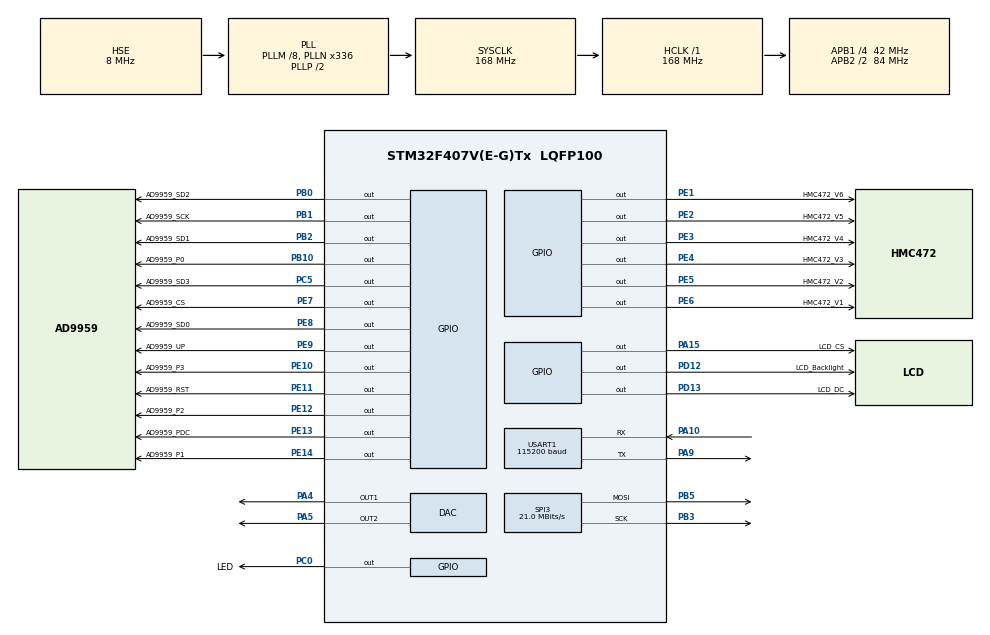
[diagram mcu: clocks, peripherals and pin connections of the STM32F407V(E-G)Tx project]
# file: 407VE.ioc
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DAC.DAC_OutputBuffer=DAC_OUTPUTBUFFER_DISABLE
DAC.DAC_OutputBuffer2=DAC_OUTPUTBUFFER_DISABLE
DAC.DAC_Trigger=DAC_TRIGGER_NONE
DAC.DAC_Trigger2=DAC_TRIGGER_NONE
Mcu.Family=STM32F4
Mcu.Name=STM32F407V(E-G)Tx
Mcu.Package=LQFP100
NVIC.PriorityGroup=NVIC_PRIORITYGROUP_4
NVIC.USART1_IRQn=true\:0\:0\:false\:false\:true\:true\:true\:true
PA10.Mode=Asynchronous
PA10.Signal=USART1_RX
PA13.Mode=Serial_Wire
PA13.Signal=SYS_JTMS-SWDIO
PA14.Mode=Serial_Wire
PA14.Signal=SYS_JTCK-SWCLK
PA15.GPIO_Label=LCD_CS
PA15.PinState=GPIO_PIN_SET
PA15.Signal=GPIO_Output
PA4.Signal=COMP_DAC1_group
PA5.Signal=COMP_DAC2_group
PA9.Mode=Asynchronous
PA9.Signal=USART1_TX
PB0.GPIO_Label=AD9959_SD2
PB0.GPIO_Speed=GPIO_SPEED_FREQ_HIGH
PB0.Signal=GPIO_Output
PB1.GPIO_Label=AD9959_SCK
PB1.GPIO_Speed=GPIO_SPEED_FREQ_HIGH
PB1.Signal=GPIO_Output
PB10.GPIO_Label=AD9959_P0
PB10.GPIO_Speed=GPIO_SPEED_FREQ_HIGH
PB10.Signal=GPIO_Output
PB2.GPIO_Label=AD9959_SD1
PB2.GPIO_Speed=GPIO_SPEED_FREQ_HIGH
PB2.Signal=GPIO_Output
PB3.Mode=TX_Only_Simplex_Unidirect_Master
PB3.Signal=SPI3_SCK
PB5.Mode=TX_Only_Simplex_Unidirect_Master
PB5.Signal=SPI3_MOSI
PC0.GPIO_Label=LED
PC0.GPIO_ModeDefaultOutputPP=GPIO_MODE_OUTPUT_OD
PC0.GPIO_PuPd=GPIO_NOPULL
PC0.Signal=GPIO_Output
PC14-OSC32_IN.Mode=LSE-External-Oscillator
PC14-OSC32_IN.Signal=RCC_OSC32_IN
PC15-OSC32_OUT.Mode=LSE-External-Oscillator
PC15-OSC32_OUT.Signal=RCC_OSC32_OUT
PC5.GPIO_Label=AD9959_SD3
PC5.GPIO_Speed=GPIO_SPEED_FREQ_HIGH
PC5.Signal=GPIO_Output
PD12.GPIO_Label=LCD_Backlight
PD12.Signal=GPIO_Output
PD13.GPIO_Label=LCD_DC
PD13.PinState=GPIO_PIN_SET
PD13.Signal=GPIO_Output
PE1.GPIO_Label=HMC472_V6
PE1.Signal=GPIO_Output
PE10.GPIO_Label=AD9959_P3
PE10.GPIO_Speed=GPIO_SPEED_FREQ_HIGH
PE10.Signal=GPIO_Output
PE11.GPIO_Label=AD9959_RST
PE11.GPIO_Speed=GPIO_SPEED_FREQ_HIGH
PE11.Signal=GPIO_Output
PE12.GPIO_Label=AD9959_P2
PE12.GPIO_Speed=GPIO_SPEED_FREQ_HIGH
PE12.Signal=GPIO_Output
PE13.GPIO_Label=AD9959_PDC
PE13.GPIO_Speed=GPIO_SPEED_FREQ_HIGH
PE13.Signal=GPIO_Output
PE14.GPIO_Label=AD9959_P1
PE14.GPIO_Speed=GPIO_SPEED_FREQ_HIGH
PE14.Signal=GPIO_Output
PE2.GPIO_Label=HMC472_V5
PE2.Signal=GPIO_Output
PE3.GPIO_Label=HMC472_V4
PE3.Signal=GPIO_Output
PE4.GPIO_Label=HMC472_V3
PE4.Signal=GPIO_Output
PE5.GPIO_Label=HMC472_V2
PE5.Signal=GPIO_Output
PE6.GPIO_Label=HMC472_V1
PE6.Signal=GPIO_Output
PE7.GPIO_Label=AD9959_CS
PE7.GPIO_Speed=GPIO_SPEED_FREQ_HIGH
PE7.PinState=GPIO_PIN_SET
PE7.Signal=GPIO_Output
PE8.GPIO_Label=AD9959_SD0
PE8.GPIO_Speed=GPIO_SPEED_FREQ_HIGH
PE8.Signal=GPIO_Output
PE9.GPIO_Label=AD9959_UP
PE9.GPIO_Speed=GPIO_SPEED_FREQ_HIGH
PE9.Signal=GPIO_Output
PH0-OSC_IN.Mode=HSE-External-Oscillator
PH0-OSC_IN.Signal=RCC_OSC_IN
PH1-OSC_OUT.Mode=HSE-External-Oscillator
PH1-OSC_OUT.Signal=RCC_OSC_OUT
ProjectManager.HeapSize=0x200
ProjectManager.StackSize=0x400
ProjectManager.TargetToolchain=MDK-ARM V5.32
RCC.48MHZClocksFreq_Value=48000000
RCC.AHBFreq_Value=168000000
RCC.APB1CLKDivider=RCC_HCLK_DIV4
RCC.APB1Freq_Value=42000000
RCC.APB1TimFreq_Value=84000000
RCC.APB2CLKDivider=RCC_HCLK_DIV2
RCC.APB2Freq_Value=84000000
RCC.APB2TimFreq_Value=168000000
RCC.CortexFreq_Value=168000000
RCC.HCLKFreq_Value=168000000
RCC.HSE_VALUE=8000000
RCC.HSI_VALUE=16000000
RCC.PLLM=8
RCC.PLLN=336
RCC.PLLQ=7
RCC.PLLSourceVirtual=RCC_PLLSOURCE_HSE
RCC.RCC_RTC_Clock_Source=RCC_RTCCLKSOURCE_LSE
RCC.RCC_RTC_Clock_SourceVirtual=RCC_RTCCLKSOURCE_LSE
RCC.SYSCLKFreq_VALUE=168000000
RCC.SYSCLKSource=RCC_SYSCLKSOURCE_PLLCLK
RCC.VCOOutputFreq_Value=336000000
SH.COMP_DAC1_group.0=DAC_OUT1,DAC_OUT1
SH.COMP_DAC2_group.0=DAC_OUT2,DAC_OUT2
SPI3.CalculateBaudRate=21.0 MBits/s
SPI3.Direction=SPI_DIRECTION_2LINES
SPI3.Mode=SPI_MODE_MASTER
SPI3.VirtualType=VM_MASTER
TIM6.Prescaler=168/2-1
USART1.BaudRate=115200
USART1.VirtualMode=VM_ASYNC
VP_RTC_VS_RTC_Activate.Mode=RTC_Enabled
VP_TIM6_VS_ClockSourceINT.Mode=Enable_Timer
board=custom

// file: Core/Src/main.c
/* USER CODE BEGIN Header */
/**
  ******************************************************************************
  * @file           : main.c
  * @brief          : Main program body
  ******************************************************************************
  * @attention
  *
  * Copyright (c) 2025 STMicroelectronics.
  * All rights reserved.
  *
  * This software is licensed under terms that can be found in the LICENSE file
  * in the root directory of this software component.
  * If no LICENSE file comes with this software, it is provided AS-IS.
  *
  ******************************************************************************
  */
/* USER CODE END Header */
#include "main.h"
#include "dac.h"
#include "rtc.h"
#include "spi.h"
#include "tim.h"
#include "usart.h"
#include "gpio.h"

/* USER CODE BEGIN Includes */

#include "AD9959.H"
#include "AM_9959.h"
#include "delay.h"
#include "HMC472.h"

/* USER CODE END Includes */

/* USER CODE BEGIN PV */
uint8_t freq=30; //MHz freq of carrier
uint8_t amp=1;//100mV effective value of carrier
uint8_t md=0;//% modulation depth of a&b signal
uint8_t tdelay=5;//10ns delay of b signal
uint8_t atten=0;//db attenuation of b signal
uint8_t sphase=0;//degree start phase of b signal

/* USER CODE END PV */

void SystemClock_Config(void);

int main(void)
{

  /* MCU Configuration--------------------------------------------------------*/

  /* Reset of all peripherals, Initializes the Flash interface and the Systick. */
  HAL_Init();

  /* Configure the system clock */
  SystemClock_Config();

  /* Initialize all configured peripherals */
  MX_GPIO_Init();
  MX_RTC_Init();
  MX_SPI3_Init();
  MX_USART1_UART_Init();
  MX_TIM6_Init();
  MX_DAC_Init();
  /* USER CODE BEGIN 2 */
  AM_Init();
  AM_Instance* AM_PTRS[2]={&AM1, &AM2};
  delay_init();

	SPI_LCD_Init();
	syslog("LCD Init Success");
	initRingBuffer();
	HAL_UART_Receive_IT(&TJC_UART, RxBuffer, 1);
	char str[100];
	uint32_t nowtime = HAL_GetTick();
	syslog("Hmi Init Success");
	Init_AD9959();
	HAL_Delay(100);
  AD9959_IO_Update();
	syslog("AD9959 Init Success");

	if(HMC472_Instance_Init(&hHMC,HMC472_POTRSDEF,HMC472_PINSDEF)==HAL_OK)
	{
		syslog("HMC472 Init Success");
	}

					AM_SetMDepth(&AM1,0);
					AM_SetMDepth(&AM2,0);

	HMC472_SetAtten(&hHMC,0);

	syslog("Init Success");
  /* USER CODE END 2 */

  /* Infinite loop */
  /* USER CODE BEGIN WHILE */

	AM_SetModulationFreq(&AM1,2000000);
  while (1)
  {

		while (getRingBufferLength() >= FRAME_LENGTH)
		{

			if (getRingBufferLength() >= FRAME_LENGTH &&
			read1ByteFromRingBuffer(0) == 0x55 &&
			read1ByteFromRingBuffer(4) == 0xFF &&
			read1ByteFromRingBuffer(5) == 0xFF &&
			read1ByteFromRingBuffer(6) == 0xFF)//检查帧头及帧尾
			{
				uint8_t operation_flag=read1ByteFromRingBuffer(1);
				if (operation_flag == 0x00)
				{
					freq=read1ByteFromRingBuffer(2);
					sprintf(str,"Cfreq changed to %d MHz",freq);syslog(str);

					uint32_t cfreq=freq*1000000;
					AM_SetCarrierFreq(&AM1, cfreq);
					AM_SetCarrierFreq(&AM2, cfreq);

//					AM_SetCarrierAmp(&AM1,AM1.CW_amp+200);
//					AM_SetCarrierAmp(&AM2,AM2.CW_amp+200);
				}
				else if (operation_flag == 0x01)
				{
					amp=read1ByteFromRingBuffer(2);
					sprintf(str,"EffValue changed to %d00mV",amp);syslog(str);
					AM_SetCarrierAmp(&AM1,((float)amp*100));
					AM_SetCarrierAmp(&AM2,((float)amp*100));

//					AM_SetCarrierAmp(&AM1,AM1.CW_amp-200);
//					AM_SetCarrierAmp(&AM2,AM2.CW_amp-200);
				}
				else if (operation_flag == 0x02)
				{
					md=read1ByteFromRingBuffer(2);
					sprintf(str,"ModuDepth changed to %d %%",md);syslog(str);

					float MD=((float)md)/100;
					AM_SetMDepth(&AM1,MD);
					AM_SetMDepth(&AM2,MD);

//					AM_SetCarrierAmp(&AM1,AM1.CW_amp+20);
//					AM_SetCarrierAmp(&AM2,AM2.CW_amp+20);
				}
				else if (operation_flag == 0x03)
				{
					tdelay=read1ByteFromRingBuffer(2);
					sprintf(str,"Bsig delay changed to %d0ns",tdelay);syslog(str);

					uint16_t TD=tdelay*10;
					AM_SetTDelay(&AM1,&AM2,TD);

//					AM_SetCarrierAmp(&AM1,AM1.CW_amp-20);
//					AM_SetCarrierAmp(&AM2,AM2.CW_amp-20);
				}
				else if (operation_flag == 0x04)
				{
					atten=read1ByteFromRingBuffer(2);
					sprintf(str,"Bsig atten changed to %ddb",atten);syslog(str);
					HMC472_SetAtten(&hHMC,atten);

//					AM_SetCarrierAmp(&AM1,AM1.CW_amp+1);
//					AM_SetCarrierAmp(&AM2,AM2.CW_amp+1);
				}
				else if (operation_flag == 0x05)
				{
					sphase=read1ByteFromRingBuffer(2);
					sprintf(str,"Bsig sphase changed to %d0°",sphase);syslog(str);
//					AM_SetCMPhase(&AM1,sphase*10);
					AM_SetCMPhase(&AM2,sphase*10);

//					AM_SetCarrierAmp(&AM1,AM1.CW_amp-1);
//					AM_SetCarrierAmp(&AM2,AM2.CW_amp-1);
				}
				deleteRingBuffer(7);
			} else
			{
				deleteRingBuffer(1);
				break;
			}
		}
	LED;
	HMC472_ApplyAtten(&hHMC);
	AM_ApplyChanges(AM_PTRS,2);
	HAL_Delay(5);
	}
    /* USER CODE END WHILE */

}

void SystemClock_Config(void)
{
  RCC_OscInitTypeDef RCC_OscInitStruct = {0};
  RCC_ClkInitTypeDef RCC_ClkInitStruct = {0};

  /** Configure the main internal regulator output voltage
  */
  __HAL_RCC_PWR_CLK_ENABLE();
  __HAL_PWR_VOLTAGESCALING_CONFIG(PWR_REGULATOR_VOLTAGE_SCALE1);

  /** Initializes the RCC Oscillators according to the specified parameters
  * in the RCC_OscInitTypeDef structure.
  */
  RCC_OscInitStruct.OscillatorType = RCC_OSCILLATORTYPE_HSE|RCC_OSCILLATORTYPE_LSE;
  RCC_OscInitStruct.HSEState = RCC_HSE_ON;
  RCC_OscInitStruct.LSEState = RCC_LSE_ON;
  RCC_OscInitStruct.PLL.PLLState = RCC_PLL_ON;
  RCC_OscInitStruct.PLL.PLLSource = RCC_PLLSOURCE_HSE;
  RCC_OscInitStruct.PLL.PLLM = 8;
  RCC_OscInitStruct.PLL.PLLN = 336;
  RCC_OscInitStruct.PLL.PLLP = RCC_PLLP_DIV2;
  RCC_OscInitStruct.PLL.PLLQ = 7;
  if (HAL_RCC_OscConfig(&RCC_OscInitStruct) != HAL_OK)
  {
    Error_Handler();
  }

  /** Initializes the CPU, AHB and APB buses clocks
  */
  RCC_ClkInitStruct.ClockType = RCC_CLOCKTYPE_HCLK|RCC_CLOCKTYPE_SYSCLK
                              |RCC_CLOCKTYPE_PCLK1|RCC_CLOCKTYPE_PCLK2;
  RCC_ClkInitStruct.SYSCLKSource = RCC_SYSCLKSOURCE_PLLCLK;
  RCC_ClkInitStruct.AHBCLKDivider = RCC_SYSCLK_DIV1;
  RCC_ClkInitStruct.APB1CLKDivider = RCC_HCLK_DIV4;
  RCC_ClkInitStruct.APB2CLKDivider = RCC_HCLK_DIV2;

  if (HAL_RCC_ClockConfig(&RCC_ClkInitStruct, FLASH_LATENCY_5) != HAL_OK)
  {
    Error_Handler();
  }
}

/* USER CODE BEGIN 4 */

/********************************************************
usart callback
**********************************************************/
void HAL_UART_RxCpltCallback(UART_HandleTypeDef *huart)
{

	if(huart->Instance == TJC_UART_INS)
	{
		write1ByteToRingBuffer(RxBuffer[0]);
		HAL_UART_Receive_IT(&TJC_UART,RxBuffer,1);
	}
	return;
}
/* USER CODE END 4 */

void Error_Handler(void)
{
  __disable_irq();
  while (1)
  {
  }
}
